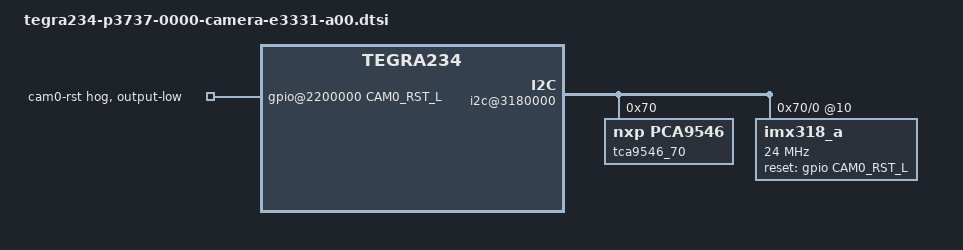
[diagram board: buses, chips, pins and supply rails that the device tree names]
// SPDX-License-Identifier: GPL-2.0-only
// Copyright (c) 2017-2023, NVIDIA CORPORATION & AFFILIATES.  All rights reserved.

#include "tegra234-camera-e3331-a00.dtsi"
#include <dt-bindings/clock/tegra234-clock.h>

/* camera control gpio definitions */
#define CAM0_RST_L	TEGRA234_MAIN_GPIO(H, 3)
#define CAMERA_I2C_MUX_BUS(x) (0x1E + x)

/* TODO: Re-enable cam1 and cam2*/
/ {
	fragment-camera-imx318@0 {
		target-path = "/";
		__overlay__ {
			bus@0 {
				gpio@2200000 {
					camera-control-output-low {
						gpio-hog;
						output-low;
						gpios = <CAM0_RST_L 0>;
						label = "cam0-rst";
					};
				};

				i2c@3180000 {
					tca9546_70: tca9546@70 {
						compatible = "nxp,pca9546";
						reg = <0x70>;
						#address-cells = <1>;
						#size-cells = <0>;
						skip_mux_detect;
						force_bus_start = <CAMERA_I2C_MUX_BUS(0)>;
						i2c@0 {
							reg = <0>;
							i2c-mux,deselect-on-exit;
							#address-cells = <1>;
							#size-cells = <0>;
							imx318_a@10 {
								clocks = <&bpmp TEGRA234_CLK_EXTPERIPH1>,
									 <&bpmp TEGRA234_CLK_PLLP_OUT0>;
								clock-names = "extperiph1", "pllp_grtba";
								mclk = "extperiph1";
								clock-frequency = <24000000>;
								reset-gpios = <&gpio CAM0_RST_L GPIO_ACTIVE_HIGH>;
							};
						};
					};
				};
			};
		};
	};
};
